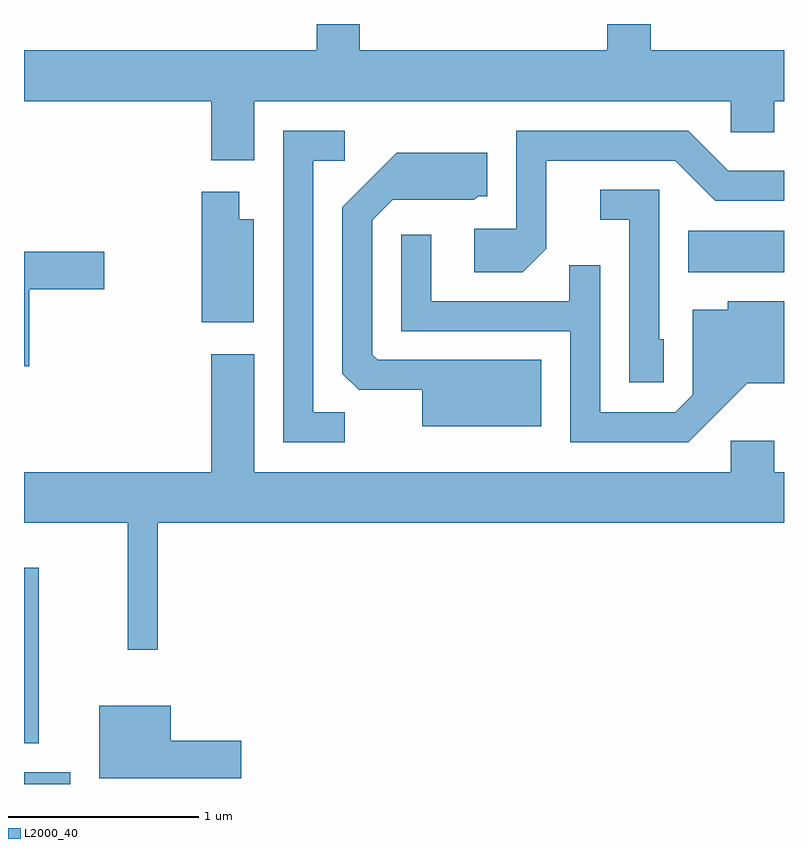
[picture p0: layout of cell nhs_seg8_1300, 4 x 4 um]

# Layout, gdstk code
import gdstk
lib = gdstk.Library(unit=1e-6, precision=1e-09)
def R(c, l, rs):  # rectangles x0, y0, x1, y1
    for r in rs: c.add(gdstk.rectangle(r[:2], r[2:], *l))
def P(c, l, *ps):  # polygons
    for p in ps: c.add(gdstk.Polygon(p, *l))
L2000_40 = (2000, 40)

nhs_seg8_1300 = lib.new_cell('nhs_seg8_1300')
R(nhs_seg8_1300, L2000_40, [(223.611,1868.342,223.854,1868.404), (223.611,1868.556,223.689,1869.479), (227.106,1871.036,227.611,1871.254)])
P(nhs_seg8_1300, L2000_40, [(224.824,1871.936),(227.331,1871.936),(227.331,1871.771),(227.559,1871.771),(227.559,1871.936),(227.611,1871.936),(227.611,1872.204),(226.909,1872.204),(226.909,1872.342),(226.681,1872.342),(226.681,1872.204),(225.379,1872.204),(225.379,1872.342),(225.151,1872.342),(225.151,1872.204),(223.611,1872.204),(223.611,1871.936),(224.596,1871.936),(224.596,1871.626),(224.824,1871.626)],
  [(226.359,1871.159),(226.359,1871.621),(227.039,1871.621),(227.249,1871.411),(227.611,1871.411),(227.611,1871.569),(227.317,1871.569),(227.107,1871.779),(226.201,1871.779),(226.201,1871.264),(225.981,1871.264),(225.981,1871.036),(226.237,1871.036)],
  [(225.298,1870.299),(225.134,1870.299),(225.134,1871.621),(225.298,1871.621),(225.298,1871.779),(224.976,1871.779),(224.976,1870.141),(225.298,1870.141)],
  [(226.334,1870.574),(225.472,1870.574),(225.444,1870.602),(225.444,1871.309),(225.552,1871.416),(225.982,1871.416),(226.002,1871.436),(226.049,1871.436),(226.049,1871.664),(225.574,1871.664),(225.286,1871.377),(225.286,1870.502),(225.372,1870.416),(225.706,1870.416),(225.706,1870.226),(226.334,1870.226)],
  [(226.979,1870.684),(226.954,1870.684),(226.954,1871.469),(226.643,1871.469),(226.643,1871.311),(226.796,1871.311),(226.796,1870.456),(226.979,1870.456)],
  [(224.819,1871.314),(224.744,1871.314),(224.744,1871.459),(224.546,1871.459),(224.546,1870.771),(224.819,1870.771)],
  [(227.417,1870.451),(227.611,1870.451),(227.611,1870.884),(227.316,1870.884),(227.316,1870.839),(227.131,1870.839),(227.131,1870.392),(227.039,1870.299),(226.644,1870.299),(226.644,1871.073),(226.481,1871.073),(226.481,1870.884),(225.754,1870.884),(225.754,1871.233),(225.596,1871.233),(225.596,1870.726),(226.486,1870.726),(226.486,1870.141),(227.107,1870.141)],
  [(223.639,1870.946),(224.034,1870.946),(224.034,1871.144),(223.611,1871.144),(223.611,1870.541),(223.639,1870.541)],
  [(227.611,1869.984),(227.559,1869.984),(227.559,1870.149),(227.331,1870.149),(227.331,1869.984),(224.824,1869.984),(224.824,1870.604),(224.596,1870.604),(224.596,1869.984),(223.611,1869.984),(223.611,1869.716),(224.156,1869.716),(224.156,1869.048),(224.314,1869.048),(224.314,1869.716),(227.611,1869.716)],
  [(224.754,1868.569),(224.384,1868.569),(224.384,1868.754),(224.006,1868.754),(224.006,1868.371),(224.754,1868.371)])

lib.write_gds('nhs_seg8_1300.gds')
